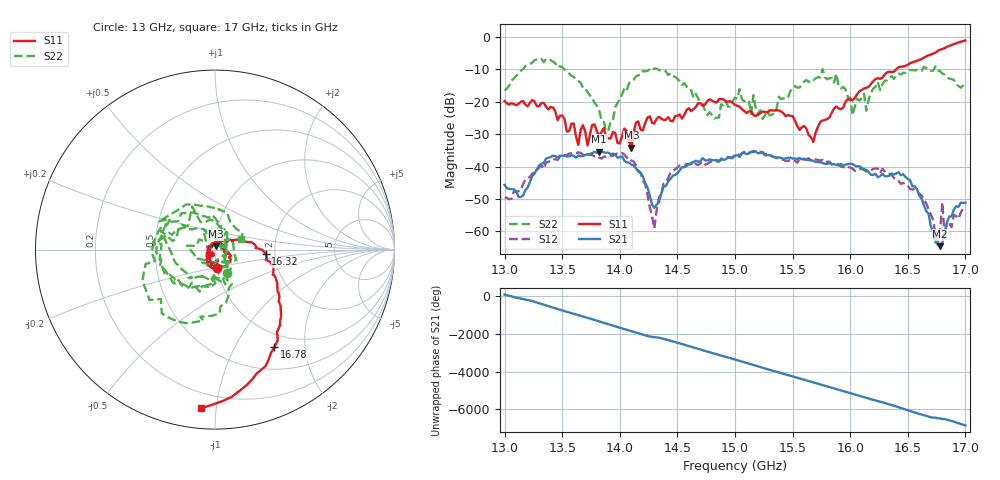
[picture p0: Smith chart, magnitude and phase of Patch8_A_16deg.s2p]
!Keysight Technologies,P9374A,MY57211810,A.19.30.04
!Date: Friday, May 09, 2025 09:21:03
!Correction: S11(Cdelta 2-Port  )
!S21(Cdelta 2-Port  )
!S12(Cdelta 2-Port  )
!S22(Cdelta 2-Port  )
!S2P File: Measurements: S11, S21, S12, S22:
# Hz S  dB  R 50
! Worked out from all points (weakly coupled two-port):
!   201 points, 13 GHz to 17 GHz, reference 50 ohm
!   highest |S21| = -35.36 dB at 13.82 GHz (marker M1); lowest = -64.6 dB at 16.78 GHz (marker M2)
!   lowest |S11| = -34.2 dB at 14.1 GHz (marker M3), VSWR 1.04, Z = 50.4 + j1.91 ohm
!   |S11| at or under -10 dB: start of sweep to 16.4 GHz
!   |S22| runs from -29.0 to -6.7 dB; largest |S21 - S12| = 0.0037
!   S11 on the Smith chart (normalised r, x): 13 GHz: 1.00, -0.21; 16.32 GHz: 1.79, -0.10; 16.78 GHz: 0.80, -1.46; 17 GHz: 0.11, -0.91
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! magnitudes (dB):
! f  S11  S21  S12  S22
! 13 GHz  -19.7  -45.7  -49.5  -16.5
! 13.32 GHz  -20.3  -39.1  -39.6  -6.7
! 13.64 GHz  -33.3  -36.5  -35.6  -13.5
! 13.68 GHz  -27.2  -36.8  -36.3  -15.7
! 13.82 GHz  -30.4  -35.4  -37.2  -22.5
! 13.9 GHz  -31.3  -35.7  -36.6  -29.0
! 14.1 GHz  -34.2  -39.4  -38.1  -13.5
! 14.3 GHz  -26.7  -52.8  -59.1  -9.7
! 14.34 GHz  -24.6  -51.0  -49.7  -10.2
! 14.82 GHz  -20.0  -38.1  -38.4  -25.2
! 15 GHz  -21.0  -36.6  -36.2  -18.7
! 15.24 GHz  -23.0  -35.7  -35.5  -25.3
! 15.68 GHz  -32.4  -38.2  -37.9  -13.3
! 15.88 GHz  -21.4  -39.5  -39.1  -11.3
! 16.02 GHz  -19.5  -39.2  -40.7  -24.1
! 16.32 GHz  -10.9  -43.0  -42.1  -13.3
! 16.34 GHz  -10.7  -42.8  -42.2  -12.5
! 16.58 GHz  -7.3  -47.0  -47.4  -10.2
! 16.78 GHz  -3.9  -64.6  -59.7  -10.5
! 16.8 GHz  -3.7  -63.4  -51.1  -11.3
! 16.82 GHz  -3.4  -60.2  -62.0  -11.6
! 17 GHz  -1.0  -51.1  -53.6  -16.0
